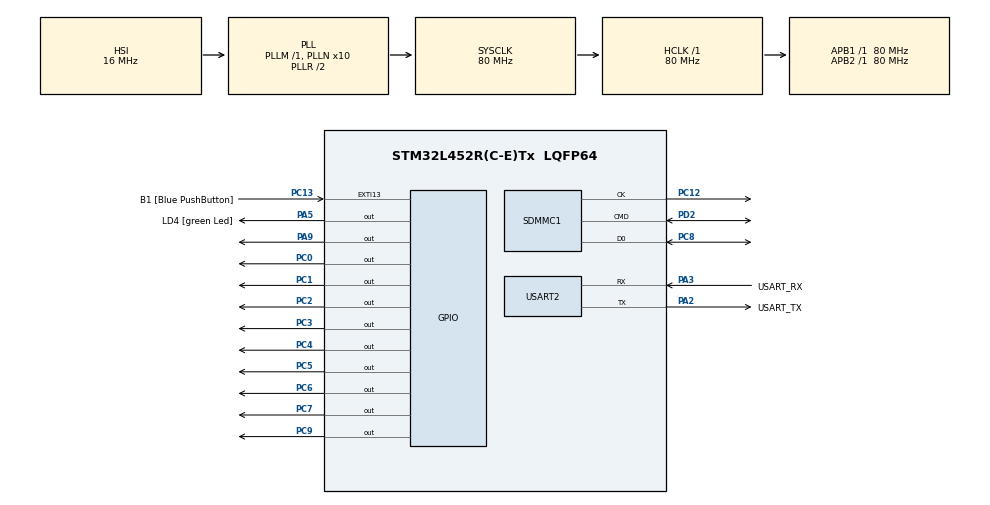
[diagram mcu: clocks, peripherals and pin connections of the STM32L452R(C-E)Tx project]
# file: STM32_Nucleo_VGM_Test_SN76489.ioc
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Mcu.Family=STM32L4
Mcu.Name=STM32L452R(C-E)Tx
Mcu.Package=LQFP64
NVIC.PriorityGroup=NVIC_PRIORITYGROUP_4
PA13\ (JTMS/SWDIO).GPIO_Label=TMS
PA13\ (JTMS/SWDIO).Mode=Serial_Wire
PA13\ (JTMS/SWDIO).Signal=SYS_JTMS-SWDIO
PA14\ (JTCK/SWCLK).GPIO_Label=TCK
PA14\ (JTCK/SWCLK).Mode=Serial_Wire
PA14\ (JTCK/SWCLK).Signal=SYS_JTCK-SWCLK
PA2.GPIO_Label=USART_TX
PA2.GPIO_Mode=GPIO_MODE_AF_PP
PA2.GPIO_PuPd=GPIO_NOPULL
PA2.GPIO_Speed=GPIO_SPEED_FREQ_VERY_HIGH
PA2.Mode=Asynchronous
PA2.Signal=USART2_TX
PA3.GPIO_Label=USART_RX
PA3.GPIO_Mode=GPIO_MODE_AF_PP
PA3.GPIO_PuPd=GPIO_NOPULL
PA3.GPIO_Speed=GPIO_SPEED_FREQ_VERY_HIGH
PA3.Mode=Asynchronous
PA3.Signal=USART2_RX
PA5.GPIO_Label=LD4 [green Led]
PA5.GPIO_ModeDefaultOutputPP=GPIO_MODE_OUTPUT_PP
PA5.GPIO_PuPd=GPIO_NOPULL
PA5.GPIO_Speed=GPIO_SPEED_FREQ_LOW
PA5.Signal=GPIO_Output
PA9.Signal=GPIO_Output
PB3\ (JTDO/TRACESWO).GPIO_Label=SWO
PB3\ (JTDO/TRACESWO).Signal=SYS_JTDO-SWO
PC0.Signal=GPIO_Output
PC1.Signal=GPIO_Output
PC12.Mode=SD_1_bit
PC12.Signal=SDMMC1_CK
PC13.GPIO_Label=B1 [Blue PushButton]
PC13.GPIO_ModeDefaultEXTI=GPIO_MODE_IT_FALLING
PC13.GPIO_PuPd=GPIO_NOPULL
PC13.Signal=GPXTI13
PC14-OSC32_IN\ (PC14).Mode=LSE-External-Oscillator
PC14-OSC32_IN\ (PC14).Signal=RCC_OSC32_IN
PC15-OSC32_OUT\ (PC15).Mode=LSE-External-Oscillator
PC15-OSC32_OUT\ (PC15).Signal=RCC_OSC32_OUT
PC2.Signal=GPIO_Output
PC3.Signal=GPIO_Output
PC4.Signal=GPIO_Output
PC5.Signal=GPIO_Output
PC6.Signal=GPIO_Output
PC7.Signal=GPIO_Output
PC8.Mode=SD_1_bit
PC8.Signal=SDMMC1_D0
PC9.Signal=GPIO_Output
PD2.Mode=SD_1_bit
PD2.Signal=SDMMC1_CMD
PH0-OSC_IN\ (PH0).Signal=RCC_OSC_IN
PH1-OSC_OUT\ (PH1).Signal=RCC_OSC_OUT
ProjectManager.HeapSize=0x200
ProjectManager.StackSize=0x400
ProjectManager.TargetToolchain=TrueSTUDIO
RCC.ADCFreq_Value=64000000
RCC.AHBFreq_Value=80000000
RCC.APB1Freq_Value=80000000
RCC.APB1TimFreq_Value=80000000
RCC.APB2Freq_Value=80000000
RCC.APB2TimFreq_Value=80000000
RCC.CortexFreq_Value=80000000
RCC.HCLKFreq_Value=80000000
RCC.HSE_VALUE=8000000
RCC.HSI48_VALUE=48000000
RCC.HSI_VALUE=16000000
RCC.MSI_VALUE=4000000
RCC.PLLN=10
RCC.PLLSAI1Q=RCC_PLLQ_DIV4
RCC.PLLSourceVirtual=RCC_PLLSOURCE_HSI
RCC.PREFETCH_ENABLE=1
RCC.SYSCLKFreq_VALUE=80000000
RCC.SYSCLKSource=RCC_SYSCLKSOURCE_PLLCLK
RCC.USBFreq_Value=32000000
RCC.VCOOutputFreq_Value=160000000
USART2.VirtualMode-Asynchronous=VM_ASYNC
VP_FATFS_VS_SDIO.Mode=SDIO
board=NUCLEO-L452RE

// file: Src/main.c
/**
  ******************************************************************************
  * @file           : main.c
  * @brief          : Main program body
  ******************************************************************************
  * This notice applies to any and all portions of this file
  * that are not between comment pairs USER CODE BEGIN and
  * USER CODE END. Other portions of this file, whether
  * inserted by the user or by software development tools
  * are owned by their respective copyright owners.
  *
  * Copyright (c) 2018 STMicroelectronics International N.V.
  * All rights reserved.
  *
  * Redistribution and use in source and binary forms, with or without
  * modification, are permitted, provided that the following conditions are met:
  *
  * 1. Redistribution of source code must retain the above copyright notice,
  *    this list of conditions and the following disclaimer.
  * 2. Redistributions in binary form must reproduce the above copyright notice,
  *    this list of conditions and the following disclaimer in the documentation
  *    and/or other materials provided with the distribution.
  * 3. Neither the name of STMicroelectronics nor the names of other
  *    contributors to this software may be used to endorse or promote products
  *    derived from this software without specific written permission.
  * 4. This software, including modifications and/or derivative works of this
  *    software, must execute solely and exclusively on microcontroller or
  *    microprocessor devices manufactured by or for STMicroelectronics.
  * 5. Redistribution and use of this software other than as permitted under
  *    this license is void and will automatically terminate your rights under
  *    this license.
  *
  * THIS SOFTWARE IS PROVIDED BY STMICROELECTRONICS AND CONTRIBUTORS "AS IS"
  * AND ANY EXPRESS, IMPLIED OR STATUTORY WARRANTIES, INCLUDING, BUT NOT
  * LIMITED TO, THE IMPLIED WARRANTIES OF MERCHANTABILITY, FITNESS FOR A
  * PARTICULAR PURPOSE AND NON-INFRINGEMENT OF THIRD PARTY INTELLECTUAL PROPERTY
  * RIGHTS ARE DISCLAIMED TO THE FULLEST EXTENT PERMITTED BY LAW. IN NO EVENT
  * SHALL STMICROELECTRONICS OR CONTRIBUTORS BE LIABLE FOR ANY DIRECT, INDIRECT,
  * INCIDENTAL, SPECIAL, EXEMPLARY, OR CONSEQUENTIAL DAMAGES (INCLUDING, BUT NOT
  * LIMITED TO, PROCUREMENT OF SUBSTITUTE GOODS OR SERVICES; LOSS OF USE, DATA,
  * OR PROFITS; OR BUSINESS INTERRUPTION) HOWEVER CAUSED AND ON ANY THEORY OF
  * LIABILITY, WHETHER IN CONTRACT, STRICT LIABILITY, OR TORT (INCLUDING
  * NEGLIGENCE OR OTHERWISE) ARISING IN ANY WAY OUT OF THE USE OF THIS SOFTWARE,
  * EVEN IF ADVISED OF THE POSSIBILITY OF SUCH DAMAGE.
  *
  ******************************************************************************
  */
#include "main.h"
#include "stm32l4xx_hal.h"
#include "fatfs.h"

/* USER CODE BEGIN Includes */
#include "SN76489.h"
#include "song.h"

/* USER CODE END Includes */

SD_HandleTypeDef hsd1;

UART_HandleTypeDef huart2;

/* USER CODE BEGIN PV */
/* Private variables ---------------------------------------------------------*/

/* USER CODE END PV */

void SystemClock_Config(void);
static void MX_GPIO_Init(void);
static void MX_USART2_UART_Init(void);
static void MX_SDMMC1_SD_Init(void);

/* USER CODE BEGIN PFP */
uint32_t Read32();
void Reset();
/* Private function prototypes -----------------------------------------------*/

//Timing Variables
float singleSampleWait = 0;
const int sampleRate = 44100; //44100 standard
float WAIT60TH = 0;
float WAIT50TH = 0;
uint32_t waitSamples = 0;
unsigned long preCalced8nDelays[16];
unsigned long preCalced7nDelays[16];
unsigned long lastWaitData61 = 0;
unsigned long cachedWaitTime61 = 0;
unsigned long pauseTime = 0;
unsigned long startTime = 0;
uint32_t loopOffset = 0;
unsigned long pos = 0;
unsigned char cmd = 0;

/* USER CODE END PFP */

/* USER CODE BEGIN 0 */
uint32_t Read32()
{
	char v0 = song[pos++];
	char v1 = song[pos++];
	char v2 = song[pos++];
	char v3 = song[pos++];
	uint32_t output = (v0 + (v1 << 8) + (v2 << 16) + (v3 << 24));
	return output;
}

void Reset()
{
	SN_Reset();
	pos = 0;
	cmd = 0;
	waitSamples = 0;
	loopOffset = 0;
	lastWaitData61 = 0;
	cachedWaitTime61 = 0;
	pauseTime = 0;
	startTime = 0;
	cmd = 0;
	singleSampleWait = ((1000.0 / (sampleRate/(float)1))*1000);

	for(int i = 0; i<16; i++)
	{
	  if(i == 0)
	  {
		preCalced8nDelays[i] = 0;
		preCalced7nDelays[i] = 1;
	  }
	  else
	  {
		preCalced8nDelays[i] = ((1000.0 / (sampleRate/(float)i))*1000);
		preCalced7nDelays[i] = ((1000.0 / (sampleRate/(float)i+1))*1000);
	  }
	}
	Delayms(200);
}
/* USER CODE END 0 */

int main(void)
{
  /* USER CODE BEGIN 1 */
	WAIT60TH = ((1000.0 / (sampleRate/(float)735))*1000);
	WAIT50TH = ((1000.0 / (sampleRate/(float)882))*1000);
  /* USER CODE END 1 */

  /* MCU Configuration----------------------------------------------------------*/

  /* Reset of all peripherals, Initializes the Flash interface and the Systick. */
  HAL_Init();

  /* Configure the system clock */
  SystemClock_Config();

  /* Initialize all configured peripherals */
  MX_GPIO_Init();
  MX_USART2_UART_Init();
  MX_SDMMC1_SD_Init();
  MX_FATFS_Init();
  /* USER CODE BEGIN 2 */
  TM_DELAY_Init();
   SN_Init(GPIOC);
   Reset();
   pos = 0x40;
  /* USER CODE END 2 */

  /* Infinite loop */
  /* USER CODE BEGIN WHILE */
  while (1)
  {
	  cmd = song[pos++];
	   		  switch(cmd)
	   		  {
	   		  case 0x4F:
	   			  SN_WriteDataPins(0x06);
	   			  SN_WriteDataPins(song[pos++]);
	   			  pauseTime = singleSampleWait;
	   			  break;
	   		  case 0x50:
	   			  SN_WriteDataPins(song[pos++]);
	   			  pauseTime = singleSampleWait;
	   			  break;
	   		  case 0x61:
	   		  {
	   			  uint32_t wait = 0;
	   		      for ( int i = 0; i < 2; i++ )
	   		      {
	   		        wait += ( song[pos++]  << ( 8 * i ));
	   		      }
	   		      pauseTime = ((1000.0 / (sampleRate/(float)wait))*1000);
	   		  }
	   			  break;
	   		  case 0x62:
	   			  pauseTime = WAIT60TH;
	   			  break;
	   		  case 0x63:
	   			  pauseTime = WAIT50TH;
	   			  break;
	   		    case 0x70:
	   		    case 0x71:
	   		    case 0x72:
	   		    case 0x73:
	   		    case 0x74:
	   		    case 0x75:
	   		    case 0x76:
	   		    case 0x77:
	   		    case 0x78:
	   		    case 0x79:
	   		    case 0x7A:
	   		    case 0x7B:
	   		    case 0x7C:
	   		    case 0x7D:
	   		    case 0x7E:
	   		    case 0x7F:
	   		    {
	   		      //Serial.println("0x7n WAIT");
	   		      uint32_t wait = cmd & 0x0F;
	   		      //Serial.print("Wait value: ");
	   		      //Serial.println(wait);
	   		      pauseTime = preCalced7nDelays[wait];
	   		    break;
	   		    }
	   		    case 0x66:
	   			  if(loopOffset == 0)
	   				loopOffset = 0x40;
	   			  pos = loopOffset;
	   			  break;
	   		  }
	   	  Delay(pauseTime);
  /* USER CODE END WHILE */

  }

}

void SystemClock_Config(void)
{

  RCC_OscInitTypeDef RCC_OscInitStruct;
  RCC_ClkInitTypeDef RCC_ClkInitStruct;
  RCC_PeriphCLKInitTypeDef PeriphClkInit;

    /**Initializes the CPU, AHB and APB busses clocks
    */
  RCC_OscInitStruct.OscillatorType = RCC_OSCILLATORTYPE_HSI;
  RCC_OscInitStruct.HSIState = RCC_HSI_ON;
  RCC_OscInitStruct.HSICalibrationValue = 16;
  RCC_OscInitStruct.PLL.PLLState = RCC_PLL_ON;
  RCC_OscInitStruct.PLL.PLLSource = RCC_PLLSOURCE_HSI;
  RCC_OscInitStruct.PLL.PLLM = 1;
  RCC_OscInitStruct.PLL.PLLN = 10;
  RCC_OscInitStruct.PLL.PLLP = RCC_PLLP_DIV7;
  RCC_OscInitStruct.PLL.PLLQ = RCC_PLLQ_DIV2;
  RCC_OscInitStruct.PLL.PLLR = RCC_PLLR_DIV2;
  if (HAL_RCC_OscConfig(&RCC_OscInitStruct) != HAL_OK)
  {
    _Error_Handler(__FILE__, __LINE__);
  }

    /**Initializes the CPU, AHB and APB busses clocks
    */
  RCC_ClkInitStruct.ClockType = RCC_CLOCKTYPE_HCLK|RCC_CLOCKTYPE_SYSCLK
                              |RCC_CLOCKTYPE_PCLK1|RCC_CLOCKTYPE_PCLK2;
  RCC_ClkInitStruct.SYSCLKSource = RCC_SYSCLKSOURCE_PLLCLK;
  RCC_ClkInitStruct.AHBCLKDivider = RCC_SYSCLK_DIV1;
  RCC_ClkInitStruct.APB1CLKDivider = RCC_HCLK_DIV1;
  RCC_ClkInitStruct.APB2CLKDivider = RCC_HCLK_DIV1;

  if (HAL_RCC_ClockConfig(&RCC_ClkInitStruct, FLASH_LATENCY_4) != HAL_OK)
  {
    _Error_Handler(__FILE__, __LINE__);
  }

  PeriphClkInit.PeriphClockSelection = RCC_PERIPHCLK_USART2|RCC_PERIPHCLK_SDMMC1;
  PeriphClkInit.Usart2ClockSelection = RCC_USART2CLKSOURCE_PCLK1;
  PeriphClkInit.Sdmmc1ClockSelection = RCC_SDMMC1CLKSOURCE_PLLSAI1;
  PeriphClkInit.PLLSAI1.PLLSAI1Source = RCC_PLLSOURCE_HSI;
  PeriphClkInit.PLLSAI1.PLLSAI1M = 1;
  PeriphClkInit.PLLSAI1.PLLSAI1N = 8;
  PeriphClkInit.PLLSAI1.PLLSAI1P = RCC_PLLP_DIV7;
  PeriphClkInit.PLLSAI1.PLLSAI1Q = RCC_PLLQ_DIV4;
  PeriphClkInit.PLLSAI1.PLLSAI1R = RCC_PLLR_DIV2;
  PeriphClkInit.PLLSAI1.PLLSAI1ClockOut = RCC_PLLSAI1_48M2CLK;
  if (HAL_RCCEx_PeriphCLKConfig(&PeriphClkInit) != HAL_OK)
  {
    _Error_Handler(__FILE__, __LINE__);
  }

    /**Configure the main internal regulator output voltage
    */
  if (HAL_PWREx_ControlVoltageScaling(PWR_REGULATOR_VOLTAGE_SCALE1) != HAL_OK)
  {
    _Error_Handler(__FILE__, __LINE__);
  }

    /**Configure the Systick interrupt time
    */
  HAL_SYSTICK_Config(HAL_RCC_GetHCLKFreq()/1000);

    /**Configure the Systick
    */
  HAL_SYSTICK_CLKSourceConfig(SYSTICK_CLKSOURCE_HCLK);

  /* SysTick_IRQn interrupt configuration */
  HAL_NVIC_SetPriority(SysTick_IRQn, 0, 0);
}

/* SDMMC1 init function */
static void MX_SDMMC1_SD_Init(void)
{

  hsd1.Instance = SDMMC1;
  hsd1.Init.ClockEdge = SDMMC_CLOCK_EDGE_RISING;
  hsd1.Init.ClockBypass = SDMMC_CLOCK_BYPASS_DISABLE;
  hsd1.Init.ClockPowerSave = SDMMC_CLOCK_POWER_SAVE_DISABLE;
  hsd1.Init.BusWide = SDMMC_BUS_WIDE_1B;
  hsd1.Init.HardwareFlowControl = SDMMC_HARDWARE_FLOW_CONTROL_DISABLE;
  hsd1.Init.ClockDiv = 0;

}

/* USART2 init function */
static void MX_USART2_UART_Init(void)
{

  huart2.Instance = USART2;
  huart2.Init.BaudRate = 115200;
  huart2.Init.WordLength = UART_WORDLENGTH_8B;
  huart2.Init.StopBits = UART_STOPBITS_1;
  huart2.Init.Parity = UART_PARITY_NONE;
  huart2.Init.Mode = UART_MODE_TX_RX;
  huart2.Init.HwFlowCtl = UART_HWCONTROL_NONE;
  huart2.Init.OverSampling = UART_OVERSAMPLING_16;
  huart2.Init.OneBitSampling = UART_ONE_BIT_SAMPLE_DISABLE;
  huart2.AdvancedInit.AdvFeatureInit = UART_ADVFEATURE_NO_INIT;
  if (HAL_UART_Init(&huart2) != HAL_OK)
  {
    _Error_Handler(__FILE__, __LINE__);
  }

}

/** Configure pins as
        * Analog
        * Input
        * Output
        * EVENT_OUT
        * EXTI
*/
static void MX_GPIO_Init(void)
{

  GPIO_InitTypeDef GPIO_InitStruct;

  /* GPIO Ports Clock Enable */
  __HAL_RCC_GPIOC_CLK_ENABLE();
  __HAL_RCC_GPIOH_CLK_ENABLE();
  __HAL_RCC_GPIOA_CLK_ENABLE();
  __HAL_RCC_GPIOD_CLK_ENABLE();
  __HAL_RCC_GPIOB_CLK_ENABLE();

  /*Configure GPIO pin Output Level */
  HAL_GPIO_WritePin(GPIOC, GPIO_PIN_0|GPIO_PIN_1|GPIO_PIN_2|GPIO_PIN_3
                          |GPIO_PIN_4|GPIO_PIN_5|GPIO_PIN_6|GPIO_PIN_7
                          |GPIO_PIN_9, GPIO_PIN_RESET);

  /*Configure GPIO pin Output Level */
  HAL_GPIO_WritePin(GPIOA, LD4_Pin|GPIO_PIN_9, GPIO_PIN_RESET);

  /*Configure GPIO pin : B1_Pin */
  GPIO_InitStruct.Pin = B1_Pin;
  GPIO_InitStruct.Mode = GPIO_MODE_IT_FALLING;
  GPIO_InitStruct.Pull = GPIO_NOPULL;
  HAL_GPIO_Init(B1_GPIO_Port, &GPIO_InitStruct);

  /*Configure GPIO pins : PC0 PC1 PC2 PC3
                           PC4 PC5 PC6 PC7
                           PC9 */
  GPIO_InitStruct.Pin = GPIO_PIN_0|GPIO_PIN_1|GPIO_PIN_2|GPIO_PIN_3
                          |GPIO_PIN_4|GPIO_PIN_5|GPIO_PIN_6|GPIO_PIN_7
                          |GPIO_PIN_9;
  GPIO_InitStruct.Mode = GPIO_MODE_OUTPUT_PP;
  GPIO_InitStruct.Pull = GPIO_NOPULL;
  GPIO_InitStruct.Speed = GPIO_SPEED_FREQ_LOW;
  HAL_GPIO_Init(GPIOC, &GPIO_InitStruct);

  /*Configure GPIO pins : LD4_Pin PA9 */
  GPIO_InitStruct.Pin = LD4_Pin|GPIO_PIN_9;
  GPIO_InitStruct.Mode = GPIO_MODE_OUTPUT_PP;
  GPIO_InitStruct.Pull = GPIO_NOPULL;
  GPIO_InitStruct.Speed = GPIO_SPEED_FREQ_LOW;
  HAL_GPIO_Init(GPIOA, &GPIO_InitStruct);

}

void _Error_Handler(char *file, int line)
{
  while(1)
  {
  }
}

/************************ (C) COPYRIGHT STMicroelectronics *****END OF FILE****/
